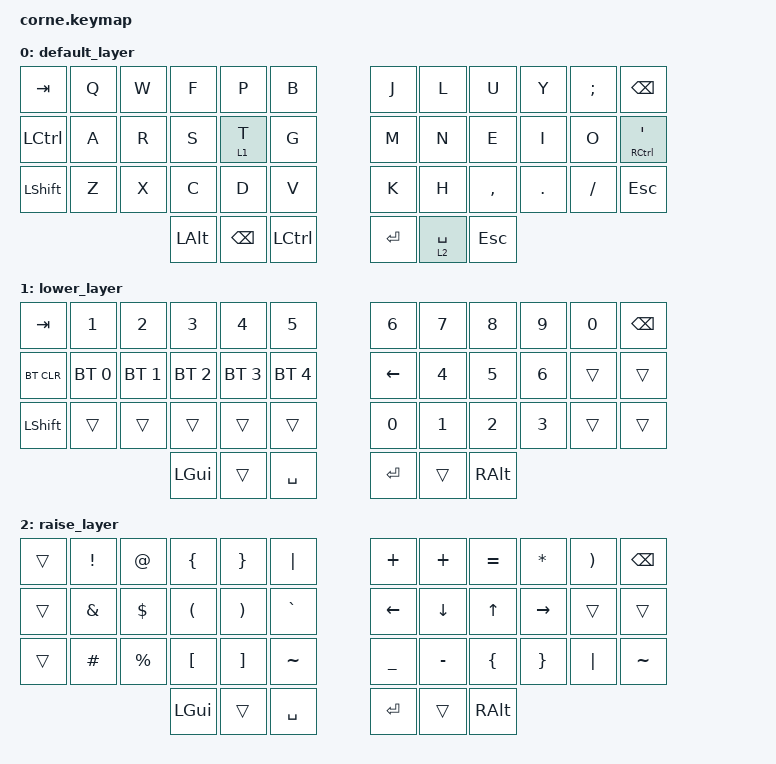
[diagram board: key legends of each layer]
/*
 * Copyright (c) 2020 The ZMK Contributors
 *
 * SPDX-License-Identifier: MIT
 */

#include <behaviors.dtsi>
#include <dt-bindings/zmk/bt.h>
#include <dt-bindings/zmk/keys.h>

/ {
    keymap {
        compatible = "zmk,keymap";

        default_layer {
            // -----------------------------------------------------------------------------------------
            // |  TAB |  Q  |  W  |  E  |  R  |  T  |   |  Y  |  U   |  I  |  O  |  P  | BKSP |
            // | CTRL |  A  |  S  |  D  |  F  |  G  |   |  H  |  J   |  K  |  L  |  ;  |  '   |
            // | SHFT |  Z  |  X  |  C  |  V  |  B  |   |  N  |  M   |  ,  |  .  |  /  | ESC  |
            //                    | GUI | LWR | SPC |   | ENT | RSE  | ALT |

            bindings = <
&kp TAB    &kp Q  &kp W  &kp F         &kp P          &kp B        &kp J      &kp L        &kp U      &kp Y    &kp SEMI  &kp BSPC
&kp LCTRL  &kp A  &kp R  &kp S         &lt 1 T        &kp G        &kp M      &kp N        &kp E      &kp I    &kp O     &mt RCTRL SINGLE_QUOTE
&kp LSHFT  &kp Z  &kp X  &kp C         &kp D          &kp V        &kp K      &kp H        &kp COMMA  &kp DOT  &kp FSLH  &kp ESC
                         &kp LEFT_ALT  &kp BACKSPACE  &kp LCTRL    &kp ENTER  &lt 2 SPACE  &kp ESC
            >;
        };

        lower_layer {
            // -----------------------------------------------------------------------------------------
            // |  TAB |  1  |  2  |  3  |  4  |  5  |   |  6  |  7  |  8  |  9  |  0  | BKSP |
            // | BTCLR| BT1 | BT2 | BT3 | BT4 | BT5 |   | LFT | DWN |  UP | RGT |     |      |
            // | SHFT |     |     |     |     |     |   |     |     |     |     |     |      |
            //                    | GUI |     | SPC |   | ENT |     | ALT |

            bindings = <
&kp TAB     &kp N1        &kp N2        &kp N3        &kp N4        &kp N5          &kp N6        &kp N7        &kp NUMBER_8  &kp N9        &kp N0  &kp BSPC
&bt BT_CLR  &bt BT_SEL 0  &bt BT_SEL 1  &bt BT_SEL 2  &bt BT_SEL 3  &bt BT_SEL 4    &kp LEFT      &kp NUMBER_4  &kp NUMBER_5  &kp NUMBER_6  &trans  &trans
&kp LSHFT   &trans        &trans        &trans        &trans        &trans          &kp NUMBER_0  &kp NUMBER_1  &kp NUMBER_2  &kp NUMBER_3  &trans  &trans
                                        &kp LGUI      &trans        &kp SPACE       &kp RET       &trans        &kp RALT
            >;
        };

        raise_layer {
            // -----------------------------------------------------------------------------------------
            // |  TAB |  !  |  @  |  #  |  $  |  %  |   |  ^  |  &  |  *  |  (  |  )  | BKSP |
            // | CTRL |     |     |     |     |     |   |  -  |  =  |  [  |  ]  |  \  |  `   |
            // | SHFT |     |     |     |     |     |   |  _  |  +  |  {  |  }  | "|" |  ~   |
            //                    | GUI |     | SPC |   | ENT |     | ALT |

            bindings = <
&trans  &kp EXCLAMATION  &kp AT_SIGN  &kp LEFT_BRACE        &kp RIGHT_BRACE        &kp PIPE     &kp PLUS        &kp PLUS        &kp EQUAL     &kp STAR         &kp RPAR  &kp BSPC
&trans  &kp AMPERSAND    &kp DOLLAR   &kp LEFT_PARENTHESIS  &kp RIGHT_PARENTHESIS  &kp GRAVE    &kp LEFT_ARROW  &kp DOWN_ARROW  &kp UP_ARROW  &kp RIGHT_ARROW  &trans    &trans
&trans  &kp HASH         &kp PERCENT  &kp LEFT_BRACKET      &kp RIGHT_BRACKET      &kp TILDE    &kp UNDER       &kp MINUS       &kp LBRC      &kp RBRC         &kp PIPE  &kp TILDE
                                      &kp LGUI              &trans                 &kp SPACE    &kp RET         &trans          &kp RALT
            >;
        };
    };
};
